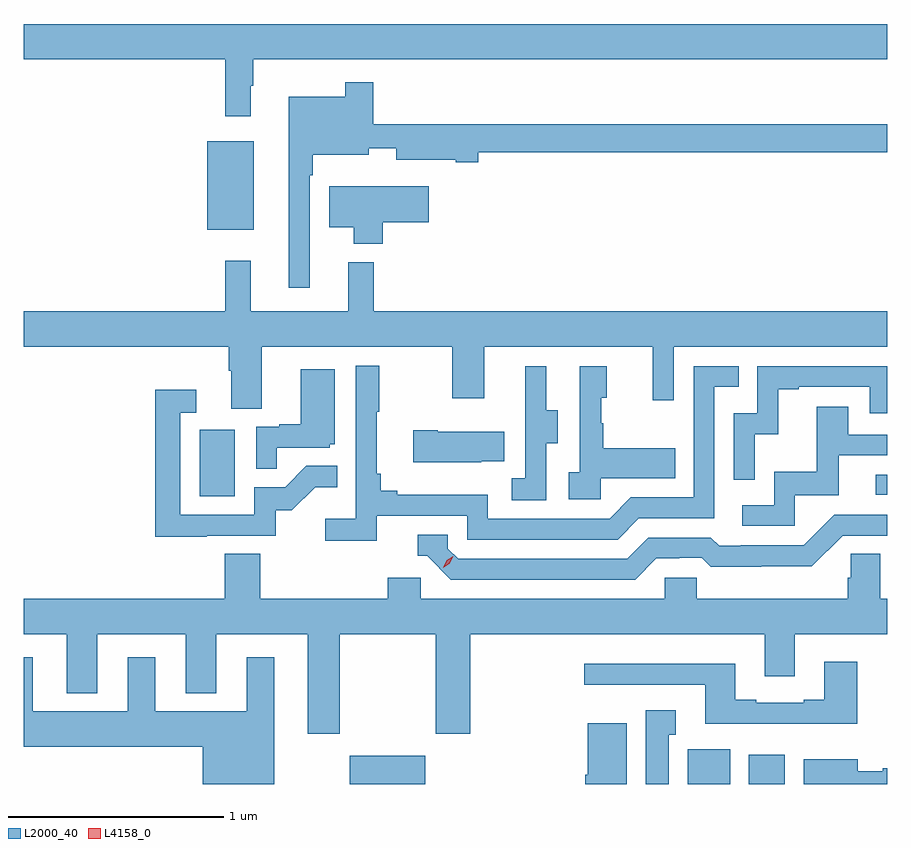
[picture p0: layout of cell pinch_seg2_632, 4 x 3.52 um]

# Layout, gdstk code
import gdstk
lib = gdstk.Library(unit=1e-6, precision=1e-09)
def R(c, l, rs):  # rectangles x0, y0, x1, y1
    for r in rs: c.add(gdstk.rectangle(r[:2], r[2:], *l))
def P(c, l, *ps):  # polygons
    for p in ps: c.add(gdstk.Polygon(p, *l))
L2000_40 = (2000, 40)
L4158_0 = (4158, 0)

pinch_seg2_632 = lib.new_cell('pinch_seg2_632')
R(pinch_seg2_632, L2000_40, [(1053.794,588.334,1054.144,588.466), (1055.36,588.334,1055.557,588.496), (1055.642,588.334,1055.809,588.469), (1053.098,589.668,1053.262,589.975), (1056.231,589.674,1056.284,589.767), (1053.134,590.903,1053.349,591.313)])
P(pinch_seg2_632, L2000_40, [(1053.334,591.569),(1053.346,591.569),(1053.346,591.692),(1056.284,591.692),(1056.284,591.856),(1052.284,591.856),(1052.284,591.692),(1053.217,591.692),(1053.217,591.429),(1053.334,591.429)],
  [(1053.609,591.155),(1053.622,591.155),(1053.622,591.251),(1053.883,591.251),(1053.883,591.281),(1054.01,591.281),(1054.01,591.227),(1054.286,591.227),(1054.286,591.215),(1054.39,591.215),(1054.39,591.262),(1056.284,591.262),(1056.284,591.391),(1053.902,591.391),(1053.902,591.586),(1053.774,591.586),(1053.774,591.52),(1053.512,591.52),(1053.512,590.634),(1053.609,590.634)],
  [(1053.947,590.938),(1054.159,590.938),(1054.159,591.103),(1053.698,591.103),(1053.698,590.915),(1053.812,590.915),(1053.812,590.837),(1053.947,590.837)],
  [(1053.385,590.36),(1054.27,590.36),(1054.27,590.121),(1054.417,590.121),(1054.417,590.36),(1055.198,590.36),(1055.198,590.112),(1055.295,590.112),(1055.295,590.36),(1056.284,590.36),(1056.284,590.524),(1053.905,590.524),(1053.905,590.752),(1053.788,590.752),(1053.788,590.524),(1053.335,590.524),(1053.335,590.758),(1053.217,590.758),(1053.217,590.524),(1052.284,590.524),(1052.284,590.36),(1053.233,590.36),(1053.233,590.248),(1053.245,590.248),(1053.245,590.074),(1053.385,590.074)],
  [(1053.92,589.578),(1054.338,589.578),(1054.338,589.467),(1055.035,589.467),(1055.134,589.566),(1055.484,589.566),(1055.484,590.175),(1055.597,590.175),(1055.597,590.271),(1055.388,590.271),(1055.388,589.662),(1055.097,589.662),(1054.998,589.563),(1054.434,589.563),(1054.434,589.675),(1054.015,589.675),(1054.015,589.694),(1053.938,589.694),(1053.938,589.771),(1053.919,589.771),(1053.919,590.059),(1053.931,590.059),(1053.931,590.272),(1053.822,590.272),(1053.822,589.564),(1053.681,589.564),(1053.681,589.462),(1053.92,589.462)],
  [(1055.67,589.955),(1055.78,589.955),(1055.78,590.163),(1055.875,590.163),(1055.875,590.175),(1056.204,590.175),(1056.204,590.052),(1056.284,590.052),(1056.284,590.271),(1055.682,590.271),(1055.682,590.052),(1055.574,590.052),(1055.574,589.743),(1055.67,589.743)],
  [(1054.704,589.912),(1054.759,589.912),(1054.759,590.067),(1054.705,590.067),(1054.705,590.269),(1054.607,590.269),(1054.607,590.055),(1054.608,590.055),(1054.608,589.751),(1054.545,589.751),(1054.545,589.648),(1054.704,589.648)],
  [(1054.956,589.751),(1055.303,589.751),(1055.303,589.891),(1054.969,589.891),(1054.969,590.006),(1054.959,590.006),(1054.959,590.124),(1054.984,590.124),(1054.984,590.269),(1054.86,590.269),(1054.86,589.778),(1054.809,589.778),(1054.809,589.653),(1054.956,589.653)],
  [(1053.455,589.893),(1053.702,589.893),(1053.702,589.908),(1053.724,589.908),(1053.724,590.257),(1053.566,590.257),(1053.566,590.002),(1053.467,590.002),(1053.467,589.989),(1053.36,589.989),(1053.36,589.795),(1053.455,589.795)],
  [(1053.131,589.485),(1053.45,589.485),(1053.45,589.602),(1053.526,589.602),(1053.633,589.709),(1053.737,589.709),(1053.737,589.808),(1053.593,589.808),(1053.495,589.71),(1053.351,589.71),(1053.351,589.581),(1053.009,589.581),(1053.009,590.055),(1053.082,590.055),(1053.082,590.161),(1052.893,590.161),(1052.893,589.48),(1053.131,589.48)],
  [(1055.856,589.671),(1056.061,589.671),(1056.061,589.857),(1056.284,589.857),(1056.284,589.953),(1056.103,589.953),(1056.103,590.083),(1055.959,590.083),(1055.959,589.78),(1055.76,589.78),(1055.76,589.626),(1055.613,589.626),(1055.613,589.53),(1055.856,589.53)],
  [(1054.403,589.829),(1054.511,589.829),(1054.511,589.966),(1054.201,589.966),(1054.201,589.974),(1054.089,589.974),(1054.089,589.826),(1054.403,589.826)],
  [(1055.215,589.38),(1055.322,589.38),(1055.322,589.383),(1055.425,589.383),(1055.467,589.341),(1055.7,589.341),(1055.7,589.343),(1055.936,589.343),(1056.078,589.485),(1056.284,589.485),(1056.284,589.581),(1056.039,589.581),(1055.898,589.44),(1055.605,589.44),(1055.605,589.437),(1055.506,589.437),(1055.467,589.476),(1055.178,589.476),(1055.079,589.377),(1054.296,589.377),(1054.248,589.425),(1054.248,589.488),(1054.109,589.488),(1054.109,589.392),(1054.152,589.392),(1054.263,589.281),(1055.116,589.281)],
  [(1053.747,589.028),(1054.192,589.028),(1054.192,588.567),(1054.352,588.567),(1054.352,589.028),(1055.717,589.028),(1055.717,588.834),(1055.857,588.834),(1055.857,589.028),(1056.284,589.028),(1056.284,589.192),(1056.252,589.192),(1056.252,589.4),(1056.115,589.4),(1056.115,589.29),(1056.101,589.29),(1056.101,589.192),(1055.403,589.192),(1055.403,589.29),(1055.253,589.29),(1055.253,589.192),(1054.122,589.192),(1054.122,589.29),(1053.971,589.29),(1053.971,589.192),(1053.38,589.192),(1053.38,589.4),(1053.215,589.4),(1053.215,589.192),(1052.284,589.192),(1052.284,589.028),(1052.483,589.028),(1052.483,588.755),(1052.623,588.755),(1052.623,589.028),(1053.035,589.028),(1053.035,588.755),(1053.175,588.755),(1053.175,589.028),(1053.599,589.028),(1053.599,588.567),(1053.747,588.567)],
  [(1053.445,588.922),(1053.317,588.922),(1053.317,588.67),(1052.893,588.67),(1052.893,588.922),(1052.765,588.922),(1052.765,588.67),(1052.326,588.67),(1052.326,588.922),(1052.284,588.922),(1052.284,588.506),(1053.113,588.506),(1053.113,588.334),(1053.445,588.334)],
  [(1056.146,588.901),(1055.993,588.901),(1055.993,588.724),(1055.897,588.724),(1055.897,588.711),(1055.677,588.711),(1055.677,588.724),(1055.581,588.724),(1055.581,588.892),(1054.881,588.892),(1054.881,588.795),(1055.441,588.795),(1055.441,588.614),(1056.146,588.614)],
  [(1055.272,588.563),(1055.305,588.563),(1055.305,588.676),(1055.165,588.676),(1055.165,588.334),(1055.272,588.334)],
  [(1055.077,588.616),(1054.898,588.616),(1054.898,588.376),(1054.886,588.376),(1054.886,588.334),(1055.077,588.334)],
  [(1056.284,588.407),(1056.264,588.407),(1056.264,588.394),(1056.148,588.394),(1056.148,588.448),(1055.897,588.448),(1055.897,588.334),(1056.284,588.334)])
P(pinch_seg2_632, L4158_0, [(1054.227,589.337),(1054.227,589.337),(1054.243,589.37),(1054.274,589.389),(1054.274,589.389),(1054.274,589.389),(1054.258,589.356),(1054.228,589.337)])

lib.write_gds('pinch_seg2_632.gds')
